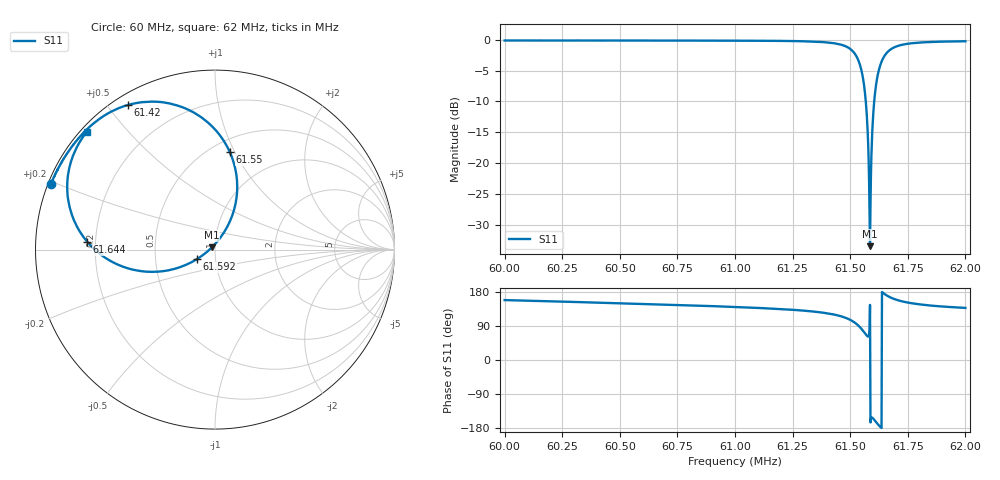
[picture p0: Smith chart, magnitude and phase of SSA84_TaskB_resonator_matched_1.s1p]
#  HZ  S  DB  R  50.00
! Rohde & Schwarz ZVB8 2Ports - Version 3.70 - 1145.1010k08 SN: 100925
! Date: 2021-11-08 12:46:15
! Measurement: S11
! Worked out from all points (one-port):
!   1001 points, 60 MHz to 62 MHz, reference 50 ohm
!   lowest |S11| = -33.4 dB at 61.586 MHz (marker M1), VSWR 1.04, Z = 48.3 + j1.17 ohm
!   |S11| at or under -10 dB: 61.56768 MHz to 61.60418 MHz (36.5 kHz wide, 0.0593 % of centre)
!   S11 on the Smith chart (normalised r, x): 60 MHz: 0.01, +0.19; 61.42 MHz: 0.04, +0.56; 61.55 MHz: 0.61, +0.96; 61.592 MHz: 0.81, -0.09; 61.644 MHz: 0.17, +0.03; 62 MHz: 0.02, +0.39
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6e7  -0.14 158.1
6.025e7  -0.14 154.0
6.05e7  -0.14 149.8
6.075e7  -0.15 145.2
6.1e7  -0.17 140.0
6.125e7  -0.23 132.4
6.135e7  -0.33 127.3
6.142e7  -0.53 121.1
6.1464e7  -0.85 114.7
6.15e7  -1.50 106.0
6.1528e7  -2.76 94.8
6.155e7  -5.18 81.4
6.1558e7  -6.82 75.4
6.1566e7  -9.30 69.0
6.1572e7  -12.17 64.4
6.1578e7  -16.90 61.8
6.1582e7  -22.83 65.9
6.1586e7  -33.43 145.4
6.1592e7  -18.83 -152.1
6.1594e7  -16.52 -151.8
6.1602e7  -10.97 -156.0
6.161e7  -7.95 -162.1
6.1624e7  -4.99 -172.2
6.1644e7  -2.93 176.5
6.1682e7  -1.43 163.1
6.175e7  -0.66 151.6
6.185e7  -0.38 143.6
6.2e7  -0.26 137.4
